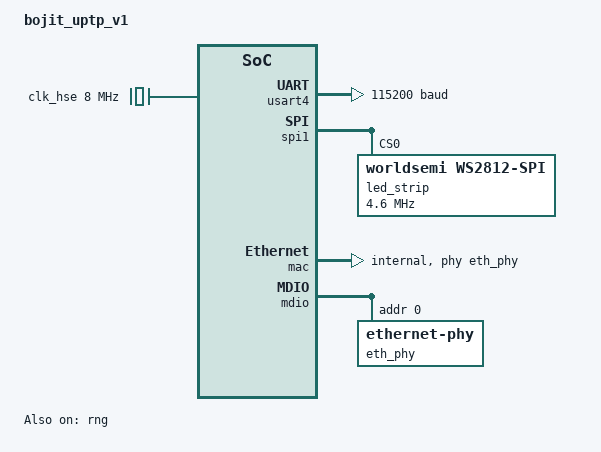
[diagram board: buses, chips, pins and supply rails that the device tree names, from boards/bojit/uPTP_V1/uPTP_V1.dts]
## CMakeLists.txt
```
cmake_minimum_required(VERSION 3.20.0)
find_package(Zephyr REQUIRED HINTS $ENV{ZEPHYR_BASE})

project(uPTP)
target_sources(app PRIVATE
    src/main.c
    src/threads/net_mgr.c
    src/threads/nmea_mgr.c
)

target_include_directories(app PRIVATE ${ZEPHYR_BASE}/subsys/net/lib)
```

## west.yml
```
manifest:
  version: 0.8

  projects:
    - name: zephyr
      # revision: v4.3.0
      # url: https://github.com/zephyrproject-rtos/zephyr
      url: https://github.com/BOJIT/zephyr
      revision: experiment/ptp-clock
      # revision: driver/ch32v30x_ethernet_fixes

      import:
        file: west.yml
        path-prefix: deps
        name-allowlist:
          - cmsis_6
          - hal_stm32
          - hal_wch

  self:
    path: app
```

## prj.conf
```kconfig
# Core
CONFIG_MAIN_STACK_SIZE=2048
CONFIG_SIZE_OPTIMIZATIONS=y

# Peripherals
CONFIG_GPIO=y
CONFIG_SPI=y
CONFIG_LED_STRIP=y

# Logs
CONFIG_LOG=y
# CONFIG_PTP_LOG_LEVEL_DBG=y
# CONFIG_PTP_LOG_LEVEL_INF=y
# CONFIG_NET_IPV4_LOG_LEVEL_DBG=y
# CONFIG_ETHERNET_LOG_LEVEL_DBG=y
# CONFIG_LOG_DEFAULT_LEVEL=2
# CONFIG_LOG_DEFAULT_LEVEL=3
# CONFIG_MDNS_RESPONDER_LOG_LEVEL_DBG=y
# CONFIG_DNS_RESOLVER_LOG_LEVEL_DBG=y
CONFIG_NET_LOG=y

# Shell
CONFIG_SHELL=y
CONFIG_SHELL_BACKEND_SERIAL=y
# CONFIG_SHELL_BACKEND_TELNET=y  # Size-Optimise
# CONFIG_SHELL_TELNET_SUPPORT_COMMAND=y  # Size-Optimise

# Networking
CONFIG_NETWORKING=y
CONFIG_NET_SHELL=y
CONFIG_NET_STATISTICS=y
CONFIG_NET_CONFIG_AUTO_INIT=n
CONFIG_NET_UDP=y
CONFIG_NET_TCP=y
CONFIG_NET_IPV6=n
CONFIG_NET_IPV4=y
CONFIG_NET_DHCPV4=y
CONFIG_NET_SOCKETS=y
CONFIG_POSIX_API=y
CONFIG_NET_CONFIG_SETTINGS=y
CONFIG_PTP=y
CONFIG_PTP_CLOCK_SHELL=y
CONFIG_NET_CONFIG_NEED_IPV4=y

# CONFIG_NET_IF_MAX_IPV6_COUNT=3
CONFIG_NET_IF_MAX_IPV4_COUNT=5
# CONFIG_NET_IF_UNICAST_IPV6_ADDR_COUNT=3
# CONFIG_NET_IF_MCAST_IPV6_ADDR_COUNT=5
CONFIG_NET_IF_MCAST_IPV4_ADDR_COUNT=5
CONFIG_NET_MAX_CONN=8
CONFIG_ZVFS_POLL_MAX=9

CONFIG_NET_PKT_RX_COUNT=20
CONFIG_NET_PKT_TX_COUNT=10
CONFIG_NET_BUF_RX_COUNT=20
CONFIG_NET_BUF_TX_COUNT=20
CONFIG_NET_MAX_CONTEXTS=10

CONFIG_NET_HOSTNAME_ENABLE=y
CONFIG_NET_HOSTNAME_UNIQUE=y
CONFIG_NET_HOSTNAME="uptp"

CONFIG_MDNS_RESPONDER=y
CONFIG_DNS_SD=y
CONFIG_MDNS_RESPONDER_DNS_SD=y


# USB Testing
CONFIG_USB_DEVICE_PRODUCT="uPTP"
CONFIG_USB_DEVICE_MANUFACTURER="BOJIT"
CONFIG_USB_DEVICE_VID=3706
CONFIG_USB_DEVICE_PID=2001
CONFIG_USBD_CDC_ACM_CLASS=y
CONFIG_SHELL_LOG_BACKEND=n
CONFIG_UART_CONSOLE=y
CONFIG_UART_LINE_CTRL=y
```

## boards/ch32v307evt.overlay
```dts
/ {
    soc {
        sram0: memory@20000000 {
            compatible = "mmio-sram";
            reg = <0x20000000 DT_SIZE_K(64)>;
        };
    };
};
```

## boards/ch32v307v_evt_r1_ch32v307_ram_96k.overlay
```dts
&pinctrl {
	ptp_clock_default: ptp_clock_default {
		ptp_pps {
			pinmux = <CH32V20X_V30X_PINMUX_DEFINE(PB, 5, PTP_PPS, 1)>;
			output-high;
			drive-push-pull;
			slew-rate = "max-speed-50mhz";
		};
	};
};

&ptp_clock {
	status = "okay";
	pinctrl-0 = <&ptp_clock_default>;
	pinctrl-names = "default";
};
```

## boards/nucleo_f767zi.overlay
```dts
#include <zephyr/dt-bindings/led/led.h>

&mac {
	pinctrl-0 = <&eth_rxd0_pc4
		     &eth_rxd1_pc5
		     &eth_ref_clk_pa1
		     &eth_crs_dv_pa7
		     &eth_tx_en_pg11
		     &eth_txd0_pg13
		     &eth_txd1_pb13
		     &eth_pps_out_pb5>;
};

&spi1 {
	status = "okay";
	pinctrl-0 = <&spi1_mosi_pa7 &spi1_sck_pa5>;
	pinctrl-names = "default";

	led_strip: ws2812@0 {
		compatible = "worldsemi,ws2812-spi";
		status = "okay";
		reg = <0>;
		spi-cpha;
		spi-one-frame = <0xf0>;  /* 1100ns HIGH */
		spi-zero-frame = <0x80>; /* 460ns HIGH */
		spi-max-frequency = <4600000>;
		chain-length = <1>;
		color-mapping = <LED_COLOR_ID_GREEN LED_COLOR_ID_RED LED_COLOR_ID_BLUE>;
	};
};
```

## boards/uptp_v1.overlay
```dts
/ {
	soc {
		/* TODO: move to snippets */
		sram0: memory@20000000 {
			compatible = "mmio-sram";
			reg = <0x20000000 DT_SIZE_K(96)>;
		};
	};
};
```

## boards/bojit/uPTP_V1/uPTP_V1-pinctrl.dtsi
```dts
/*
 * Copyright (c) 2025 James Bennion-Pedley
 * SPDX-License-Identifier: Apache-2.0
 */

#include <zephyr/dt-bindings/pinctrl/ch32v20x_30x-pinctrl.h>

&pinctrl {
	spi1_default: spi1_default {
		group1 {
			pinmux = <SPI1_MOSI_PA7_0>;
			drive-push-pull;
			slew-rate = "max-speed-10mhz";
		};
	};

	usart4_default: usart4_default {
		group1 {
			pinmux = <CH32V20X_V30X_PINMUX_DEFINE(PC, 10, USART4, 0)>;
			output-high;
			drive-push-pull;
			slew-rate = "max-speed-10mhz";
		};

		group2 {
			pinmux = <CH32V20X_V30X_PINMUX_DEFINE(PC, 11, USART4, 0)>;
			bias-pull-up;
		};
	};

	mac_default: mac_default {
		mac_internal_rxp {
			pinmux = <CH32V20X_V30X_PINMUX_DEFINE(PC, 6, ETH, 0)>;
			slew-rate = "max-speed-50mhz";
		};

		mac_internal_rxn {
			pinmux = <CH32V20X_V30X_PINMUX_DEFINE(PC, 7, ETH, 0)>;
			slew-rate = "max-speed-50mhz";
		};

		mac_internal_txp {
			pinmux = <CH32V20X_V30X_PINMUX_DEFINE(PC, 8, ETH, 0)>;
			slew-rate = "max-speed-50mhz";
		};

		mac_internal_txn {
			pinmux = <CH32V20X_V30X_PINMUX_DEFINE(PC, 9, ETH, 0)>;
			slew-rate = "max-speed-50mhz";
		};
	};

	mdio_default: mdio_default {
		/* No MDIO pinmux required for internal PHY */
	};
};
```

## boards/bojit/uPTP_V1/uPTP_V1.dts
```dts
/*
 * Copyright (c) 2025 James Bennion-Pedley
 * SPDX-License-Identifier: Apache-2.0
 */

/dts-v1/;

#include <wch/ch32v307/ch32v307wc.dtsi>
#include <zephyr/dt-bindings/gpio/gpio.h>
#include <zephyr/dt-bindings/led/led.h>
#include <zephyr/dt-bindings/input/input-event-codes.h>
#include "uptp_v1-pinctrl.dtsi"

/ {
	model = "bojit_uptp_v1";
	compatible = "bojit,uptp_v1";

	chosen {
		zephyr,sram = &sram0;
		zephyr,flash = &flash0;
		zephyr,console = &usart4;
		zephyr,shell-uart = &usart4;
	};
};

&clk_hse {
	clock-frequency = <DT_FREQ_M(8)>;
	status = "okay";
};

&pll {
	clocks = <&clk_hse>;
	status = "okay";
};

&rcc {
	clocks = <&pll>;
};


&gpioa {
	status = "okay";
};

&gpioc {
	status = "okay";
};

&usart4 {
	status = "okay";
	current-speed = <115200>;
	pinctrl-0 = <&usart4_default>;
	pinctrl-names = "default";
};

&spi1 {
	status = "okay";
	pinctrl-0 = <&spi1_default>;
	pinctrl-names = "default";

	led_strip: ws2812@0 {
		compatible = "worldsemi,ws2812-spi";
		status = "okay";
		reg = <0>;
		spi-cpha;
		spi-one-frame = <0xf0>;  /* 1100ns HIGH */
		spi-zero-frame = <0x80>; /* 460ns HIGH */
		spi-max-frequency = <4600000>;
		chain-length = <1>;
		color-mapping = <LED_COLOR_ID_GREEN LED_COLOR_ID_RED LED_COLOR_ID_BLUE>;
	};
};

&rng {
	status = "okay";
};

&mac {
	status = "okay";
	pinctrl-0 = <&mac_default>;
	pinctrl-names = "default";
	phy-connection-type = "internal";
	phy-handle = <&eth_phy>;
};

&mdio {
	status = "okay";
	pinctrl-0 = <&mdio_default>;
	pinctrl-names = "default";

	eth_phy: ethernet-phy@0 {
		compatible = "ethernet-phy";
		reg = <0x00>;
	};
};
```

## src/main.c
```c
/**
 * @file main.c
 * @author James Bennion-Pedley
 * @brief Main entry point for application
 * @date 01/06/2025
 *
 * @copyright Copyright (c) 2025
 *
 */

/*--------------------------------- Includes ---------------------------------*/

#include <errno.h>
#include <zephyr/drivers/led_strip.h>
#include <zephyr/kernel.h>
#include <zephyr/logging/log.h>
#include <zephyr/net/hostname.h>

#if CONFIG_PTP
#include <zephyr/drivers/ptp_clock.h>

#include "ptp/clock.h"
#include "ptp/port.h"
#endif /* CONFIG_PTP */

#include "threads/net_mgr.h"

#if CONFIG_SOC_FAMILY_CH32V
#include <hal_ch32fun.h>
#endif

/*---------------------------- Macros & Constants ----------------------------*/

LOG_MODULE_REGISTER(main, CONFIG_LOG_DEFAULT_LEVEL);

#define LED_STRIP_NODE DT_NODELABEL(led_strip)

struct led_rgb m_colours[5] = {
	{
		.r = 0x50,
		.g = 0x50,
		.b = 0x00,
	},
	{
		.r = 0x00,
		.g = 0x50,
		.b = 0x50,
	},
	{
		.r = 0x50,
		.g = 0x00,
		.b = 0x50,
	},
	{
		.r = 0x00,
		.g = 0x50,
		.b = 0x00,
	},
	{
		.r = 0x50,
		.g = 0x00,
		.b = 0x00,
	},
};

#if CONFIG_PTP
typedef enum _ptp_status {
	PTP_STATE_FAULT = 0,
	PTP_STATE_TRANSMITTER = 1,
	PTP_STATE_RECEIVER = 2,
	PTP_STATE_LISTENING = 3,

	PTP_STATE_UNKNOWN = 4,
} ptp_status_t;
#endif /* CONFIG_PTP */

/*----------------------------------- State ----------------------------------*/

K_THREAD_STACK_DEFINE(m_net_mgr_stack, 2048);
struct k_thread m_net_mgr_thread;

/*------------------------------ Private Functions ---------------------------*/

#if CONFIG_PTP
static ptp_status_t get_ptp_status(void)
{
	struct ptp_port *port;
	sys_slist_t *ports_list = ptp_clock_ports_list();

	if (!ports_list || sys_slist_len(ports_list) == 0) {
		return -EINVAL;
	}

	port = CONTAINER_OF(sys_slist_peek_head(ports_list), struct ptp_port, node);

	if (!port) {
		return -EINVAL;
	}

	switch (ptp_port_state(port)) {
	case PTP_PS_INITIALIZING:
	case PTP_PS_FAULTY:
	case PTP_PS_DISABLED:
	case PTP_PS_PRE_TIME_TRANSMITTER:
	case PTP_PS_PASSIVE:
	case PTP_PS_UNCALIBRATED:
		return PTP_STATE_FAULT;
	case PTP_PS_TIME_TRANSMITTER:
	case PTP_PS_GRAND_MASTER:
		return PTP_STATE_TRANSMITTER;
	case PTP_PS_TIME_RECEIVER:
		return PTP_STATE_RECEIVER;
	case PTP_PS_LISTENING:
		return PTP_STATE_LISTENING;
	}

	return PTP_STATE_UNKNOWN;
}
#endif /* CONFIG_PTP */

/*------------------------------- Public Functions ---------------------------*/

/*-------------------------------- Entry Point -------------------------------*/

int main(void)
{
	LOG_INF("Device Hostname: %s", net_hostname_get());

	static const struct device *strip = DEVICE_DT_GET_OR_NULL(LED_STRIP_NODE);

	if (!strip || !device_is_ready(strip)) {
		LOG_ERR("LED device not ready");
		return -EIO;
	}

	net_mgr_init();
	k_thread_create(&m_net_mgr_thread, m_net_mgr_stack, K_THREAD_STACK_SIZEOF(m_net_mgr_stack),
			net_mgr_thread, NULL, NULL, NULL, 5, 0, K_NO_WAIT);

	int64_t target_ms = ((k_uptime_get() + MSEC_PER_SEC) / MSEC_PER_SEC) * MSEC_PER_SEC;
	size_t i = 0;
	while (1) {
		target_ms += MSEC_PER_SEC;
		k_sleep(K_TIMEOUT_ABS_MS(target_ms));

#if CONFIG_PTP
		static const struct device *ptp_device =
			DEVICE_DT_GET_OR_NULL(DT_NODELABEL(ptp_clock));
		struct net_ptp_time t_now = {0};

		if (ptp_device) {
			ptp_clock_get(ptp_device, &t_now);
		}

		ptp_status_t ptp_status = get_ptp_status();
		LOG_INF("PTP_STATUS: %llu, %u, %u", t_now.second, t_now.nanosecond, ptp_status);
		led_strip_update_rgb(strip, &m_colours[ptp_status], 1);
#else
		led_strip_update_rgb(strip, &m_colours[i], 1);
#endif /* CONFIG_PTP */

		i = (i + 1) % ARRAY_SIZE(m_colours);
	}
}
```
